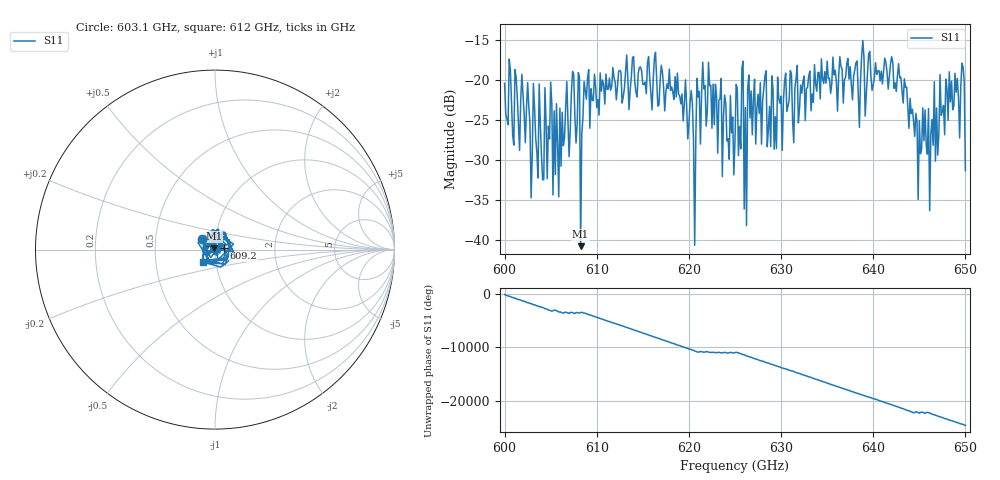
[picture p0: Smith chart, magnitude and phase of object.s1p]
!Created with skrf (http://scikit-rf.org).
# GHz S MA R 50.0
!freq magS11 angS11
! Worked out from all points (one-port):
!   401 points, 600 GHz to 650 GHz, reference 50 ohm
!   lowest |S11| = -40.8 dB at 608.2 GHz (marker M1), VSWR 1.02, Z = 49.5 + j0.752 ohm
!   |S11| at or under -10 dB: start of sweep to end of sweep
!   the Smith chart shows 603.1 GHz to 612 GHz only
!   S11 on the Smith chart (normalised r, x): 603.1 GHz: 0.86, +0.10; 609.2 GHz: 1.10, +0.02; 612 GHz: 0.87, -0.12
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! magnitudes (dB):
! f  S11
! 600 GHz  -20.5
! 603.1 GHz  -20.5
! 606.2 GHz  -24.1
! 607.4 GHz  -19.0
! 608.2 GHz  -40.8
! 608.5 GHz  -24.7
! 608.9 GHz  -22.5
! 609.2 GHz  -26.1
! 612 GHz  -20.4
! 612.5 GHz  -18.8
! 618.8 GHz  -19.2
! 620.2 GHz  -21.4
! 620.5 GHz  -27.7
! 621.6 GHz  -21.2
! 625 GHz  -27.6
! 626.2 GHz  -38.3
! 626.6 GHz  -24.8
! 628.2 GHz  -19.6
! 628.8 GHz  -23.4
! 631.2 GHz  -25.1
! 637.5 GHz  -18.4
! 642 GHz  -17.1
! 643.8 GHz  -23.4
! 645 GHz  -25.1
! 646 GHz  -23.6
! 648.1 GHz  -25.1
! 649.6 GHz  -17.9
! 650 GHz  -31.4
